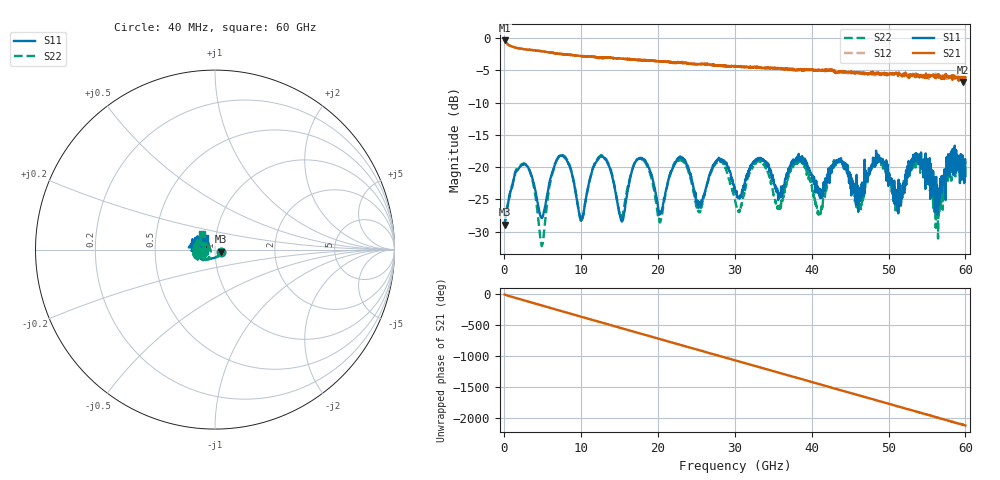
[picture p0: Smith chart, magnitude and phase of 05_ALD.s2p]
! File created by 'SoftPlot +Plus+ Measurement Management Software'
! SoftPlot +Plus+ Measurement Management Software
! Start 40.000000 MHz  Stop 60.000000 GHz  Points 1601
# MHZ S RI R 50
! S-Parameter data, F S11 S21 S12 S22
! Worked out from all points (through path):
!   1601 points, 40 MHz to 60 GHz, reference 50 ohm
!   highest |S21| = -0.37 dB at 40 MHz (marker M1); lowest = -6.8 dB at 59.66 GHz (marker M2)
!   group delay of S21, straight-line fit = 98.1 ps
!   lowest |S11| = -28.9 dB at 40 MHz (marker M3), VSWR 1.07, Z = 53.5 - j1.24 ohm
!   |S11| at or under -10 dB: start of sweep to end of sweep
!   |S22| runs from -32.3 to -18.0 dB; largest |S21 - S12| = 0.055
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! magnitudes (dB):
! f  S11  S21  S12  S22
! 40 MHz  -28.9  -0.4  -0.4  -28.6
! 2.701 GHz  -19.6  -1.7  -1.8  -19.5
! 4.912 GHz  -27.9  -2.0  -2.1  -32.2
! 7.46 GHz  -18.2  -2.5  -2.5  -18.2
! 10.05 GHz  -28.2  -2.8  -2.8  -28.4
! 12.63 GHz  -18.3  -3.0  -3.0  -18.2
! 15.22 GHz  -28.2  -3.2  -3.2  -27.7
! 17.69 GHz  -18.6  -3.4  -3.4  -18.7
! 20.05 GHz  -26.5  -3.6  -3.6  -27.9
! 22.79 GHz  -18.6  -3.8  -3.8  -18.8
! 25.26 GHz  -26.4  -4.1  -4.0  -26.8
! 27.96 GHz  -18.9  -4.2  -4.2  -19.1
! 30.02 GHz  -23.6  -4.3  -4.4  -25.1
! 33.09 GHz  -18.8  -4.6  -4.6  -19.1
! 35.68 GHz  -24.3  -4.6  -4.7  -26.6
! 38.08 GHz  -19.1  -4.9  -5.1  -19.5
! 40.03 GHz  -21.2  -4.9  -5.0  -22.8
! 50.03 GHz  -21.0  -5.6  -5.6  -22.0
! 54.04 GHz  -18.2  -5.7  -5.7  -19.3
! 56.44 GHz  -25.0  -6.0  -5.7  -31.1
! 59.66 GHz  -20.2  -6.8  -6.3  -20.4
! 60 GHz  -21.4  -6.1  -5.9  -19.1
